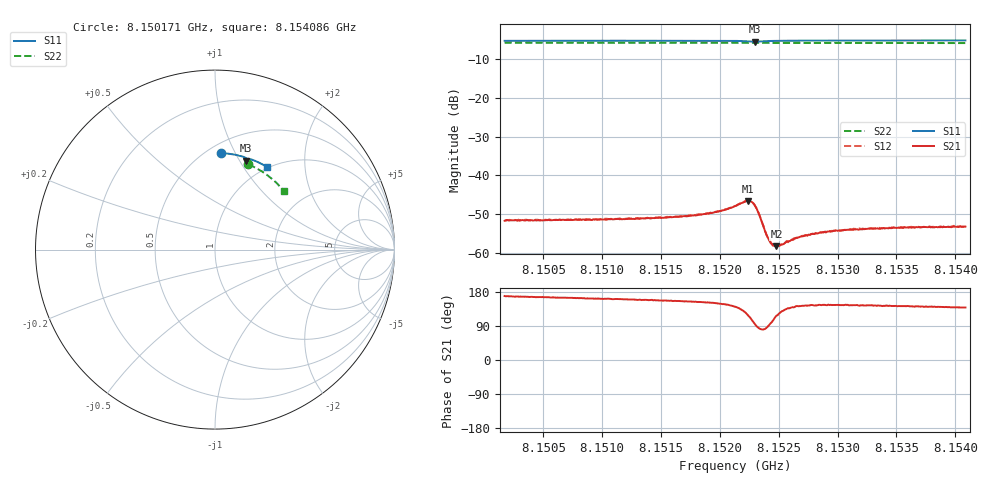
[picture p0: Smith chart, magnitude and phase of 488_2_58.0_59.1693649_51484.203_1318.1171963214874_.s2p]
#  HZ  S  RI  R  50.00
! Rohde & Schwarz Vector Network Analyzer
! Rohde-Schwarz,ZNB20-2Port,1311601062101988,3.16
! Created: UTC 3/21/2024, 1:12:09 AM
! freq[Hz]  re:S11  im:S11  re:S21  im:S21  re:S12  im:S12  re:S22  im:S22
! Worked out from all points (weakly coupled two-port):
!   401 points, 8.150171 GHz to 8.154086 GHz, reference 50 ohm
!   highest |S21| = -46.56 dB at 8.152236 GHz (marker M1); lowest = -58.2 dB at 8.152481 GHz (marker M2)
!   lowest |S11| = -5.6 dB at 8.152295 GHz (marker M3), VSWR 3.21, Z = 39 + j53.4 ohm
!   |S11| at or under -10 dB: nowhere
!   |S22| runs from -6.0 to -5.9 dB; largest |S21 - S12| = 0.00015
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8.1501706e9  0.0349 0.5372  -0.00257 0.000507  -0.00262 0.000576  0.1866 0.4742
8.1508264e9  0.0808 0.5333  -0.00257 0.000769  -0.00262 0.000819  0.2246 0.4565
8.1514822e9  0.1262 0.5254  -0.00266 0.00112  -0.00263 0.00114  0.261 0.4356
8.1518541e9  0.1525 0.5187  -0.00281 0.00146  -0.00282 0.00147  0.2808 0.4224
8.1519911e9  0.1626 0.5149  -0.00295 0.00178  -0.00295 0.00182  0.288 0.4171
8.1521282e9  0.1733 0.509  -0.00313 0.00255  -0.00313 0.0026  0.295 0.412
8.1522358e9  0.1782 0.499  -0.00228 0.00411  -0.00227 0.00416  0.3001 0.4075
8.1522652e9  0.1764 0.4961  -0.00144 0.00437  -0.0014 0.00442  0.3016 0.4064
8.1522946e9  0.1734 0.4957  -0.000449 0.00414  -0.000396 0.00417  0.3027 0.4054
8.1523239e9  0.1712 0.4979  0.000243 0.00338  0.000306 0.00342  0.3041 0.4043
8.1523924e9  0.1744 0.5042  0.000184 0.00175  0.000206 0.00178  0.3076 0.4019
8.152412e9  0.1765 0.5051  6.32e-07 0.00154  3.05e-05 0.0015  0.3087 0.4012
8.1524316e9  0.1783 0.5059  -0.000168 0.00134  -0.000136 0.00139  0.3097 0.4004
8.1524512e9  0.1802 0.5061  -0.000314 0.00123  -0.000298 0.00121  0.3106 0.3996
8.1524805e9  0.183 0.5064  -0.000559 0.0011  -0.000528 0.00112  0.3121 0.3986
8.1525099e9  0.1859 0.5061  -0.000712 0.00104  -0.000717 0.00105  0.3136 0.3975
8.1526273e9  0.1954 0.5043  -0.00113 0.000992  -0.00118 0.00101  0.3193 0.3926
8.1527839e9  0.207 0.5007  -0.00146 0.00102  -0.00144 0.00104  0.3269 0.3859
8.1529895e9  0.2211 0.4953  -0.00162 0.00112  -0.00159 0.00114  0.3367 0.3773
8.1531657e9  0.2325 0.4904  -0.00167 0.00117  -0.00165 0.00122  0.3447 0.3694
8.1534397e9  0.25 0.4823  -0.00169 0.00126  -0.00168 0.00129  0.3568 0.3571
8.1540857e9  0.2896 0.4609  -0.00165 0.00146  -0.00166 0.0015  0.3835 0.3266
